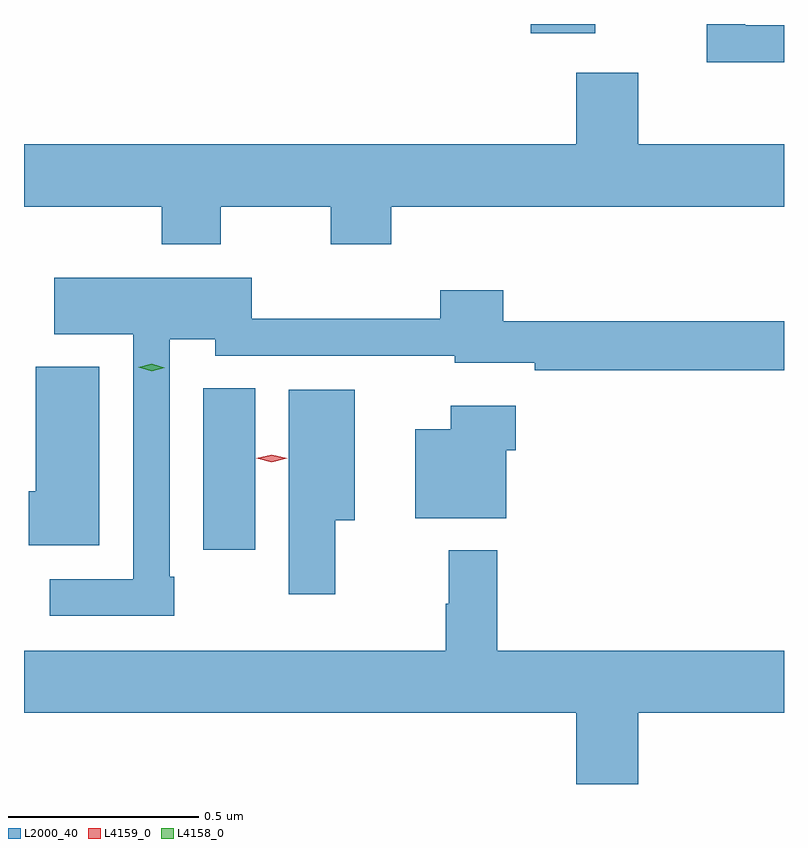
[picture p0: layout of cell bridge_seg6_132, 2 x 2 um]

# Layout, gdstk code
import gdstk
lib = gdstk.Library(unit=1e-6, precision=1e-09)
def R(c, l, rs):  # rectangles x0, y0, x1, y1
    for r in rs: c.add(gdstk.rectangle(r[:2], r[2:], *l))
def P(c, l, *ps):  # polygons
    for p in ps: c.add(gdstk.Polygon(p, *l))
L2000_40 = (2000, 40)
L4158_0 = (4158, 0)
L4159_0 = (4159, 0)

bridge_seg6_132 = lib.new_cell('bridge_seg6_132')
R(bridge_seg6_132, L2000_40, [(487.703,978.402,487.84,978.827), (488.564,979.761,488.734,979.785)])
P(bridge_seg6_132, L2000_40, [(489.231,979.782),(489.129,979.782),(489.129,979.785),(489.028,979.785),(489.028,979.685),(489.231,979.685)],
  [(487.749,979.304),(488.038,979.304),(488.038,979.205),(488.198,979.205),(488.198,979.304),(489.231,979.304),(489.231,979.468),(488.848,979.468),(488.848,979.657),(488.684,979.657),(488.684,979.468),(487.231,979.468),(487.231,979.304),(487.594,979.304),(487.594,979.205),(487.749,979.205)],
  [(487.627,978.331),(487.614,978.331),(487.614,978.956),(487.734,978.956),(487.734,978.912),(488.364,978.912),(488.364,978.894),(488.575,978.894),(488.575,978.874),(489.231,978.874),(489.231,979.003),(488.492,979.003),(488.492,979.084),(488.327,979.084),(488.327,979.01),(487.83,979.01),(487.83,979.117),(487.311,979.117),(487.311,978.968),(487.518,978.968),(487.518,978.324),(487.299,978.324),(487.299,978.228),(487.627,978.228)],
  [(487.429,978.883),(487.262,978.883),(487.262,978.555),(487.244,978.555),(487.244,978.413),(487.429,978.413)],
  [(488.05,978.479),(488.101,978.479),(488.101,978.823),(487.928,978.823),(487.928,978.285),(488.05,978.285)],
  [(488.5,978.663),(488.525,978.663),(488.525,978.781),(488.354,978.781),(488.354,978.718),(488.261,978.718),(488.261,978.485),(488.5,978.485)],
  [(488.477,978.4),(488.349,978.4),(488.349,978.26),(488.341,978.26),(488.341,978.136),(487.231,978.136),(487.231,977.972),(488.684,977.972),(488.684,977.785),(488.848,977.785),(488.848,977.972),(489.231,977.972),(489.231,978.136),(488.477,978.136)])
P(bridge_seg6_132, L4158_0, [(487.567,978.871),(487.532,978.882),(487.532,978.882),(487.532,978.882),(487.567,978.891),(487.602,978.881),(487.602,978.881),(487.602,978.881)])
P(bridge_seg6_132, L4159_0, [(487.883,978.632),(487.842,978.642),(487.842,978.642),(487.842,978.642),(487.883,978.652),(487.924,978.642),(487.924,978.642),(487.924,978.642)])

lib.write_gds('bridge_seg6_132.gds')
